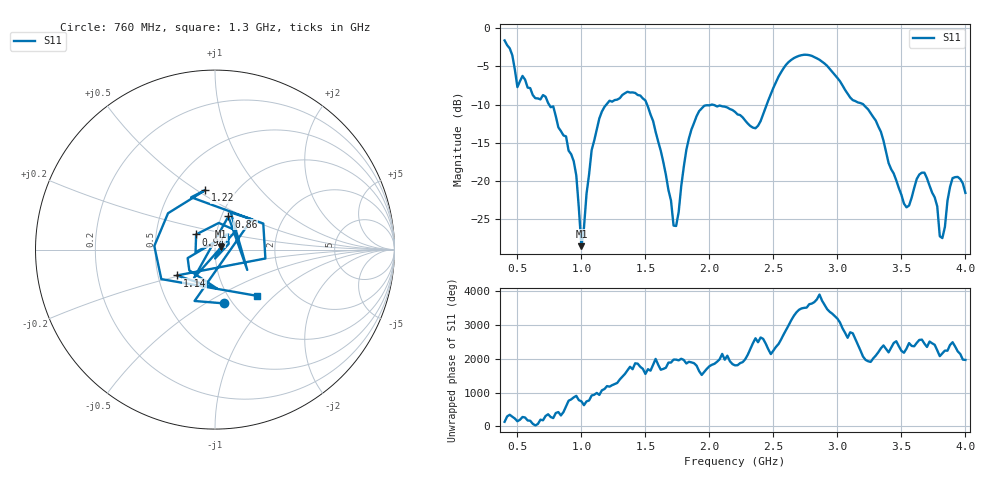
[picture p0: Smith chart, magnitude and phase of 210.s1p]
!Created with skrf (http://scikit-rf.org).
# Hz S RI R 50.0
!freq ReS11 ImS11
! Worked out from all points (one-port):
!   181 points, 400 MHz to 4 GHz, reference 50 ohm
!   lowest |S11| = -28.5 dB at 1 GHz (marker M1), VSWR 1.08, Z = 53.5 + j1.72 ohm
!   |S11| at or under -10 dB: 747.9 MHz to 1.195 GHz (446.6 MHz wide, 46 % of centre); 1.513 GHz to 2.017 GHz (503.7 MHz wide, 28.5 % of centre); 3.204 GHz to end of sweep (the widest 3 of 4)
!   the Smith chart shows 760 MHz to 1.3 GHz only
!   S11 on the Smith chart (normalised r, x): 760 MHz: 0.92, -0.61; 860 MHz: 1.08, +0.41; 940 MHz: 0.80, +0.14; 1.14 GHz: 0.63, -0.19; 1.22 GHz: 0.73, +0.54; 1.3 GHz: 1.35, -0.79
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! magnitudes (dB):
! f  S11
! 400 MHz  -1.6
! 500 MHz  -7.7
! 540 MHz  -6.2
! 760 MHz  -10.3
! 860 MHz  -14.0
! 940 MHz  -17.4
! 1 GHz  -28.5
! 1.08 GHz  -15.9
! 1.14 GHz  -11.8
! 1.22 GHz  -9.5
! 1.3 GHz  -9.2
! 1.5 GHz  -9.5
! 1.62 GHz  -16.0
! 1.72 GHz  -25.8
! 1.76 GHz  -24.0
! 1.82 GHz  -15.9
! 1.92 GHz  -10.8
! 2.2 GHz  -10.9
! 2.36 GHz  -13.1
! 2.66 GHz  -3.9
! 2.86 GHz  -4.1
! 3.1 GHz  -9.1
! 3.3 GHz  -12.1
! 3.56 GHz  -23.2
! 3.68 GHz  -18.9
! 3.82 GHz  -27.5
! 3.9 GHz  -19.6
! 4 GHz  -21.5
